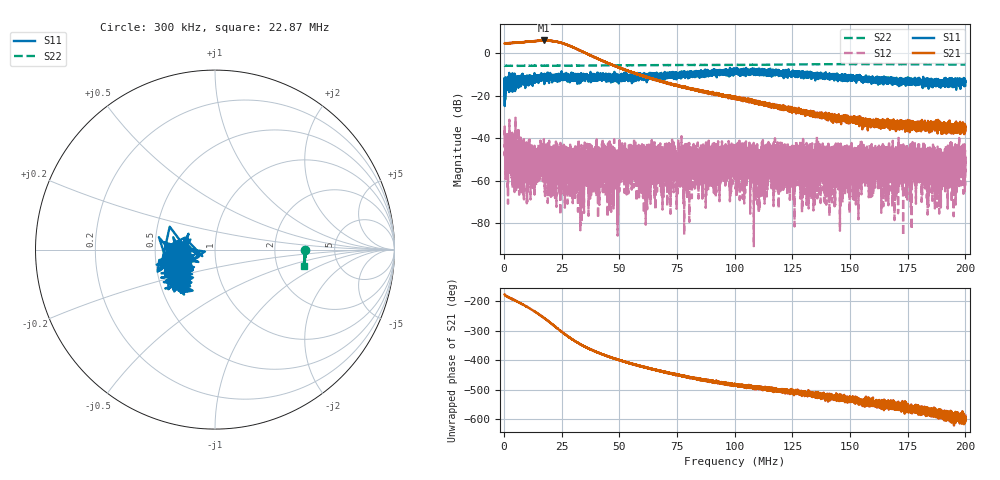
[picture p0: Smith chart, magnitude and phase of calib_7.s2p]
# Hz S DB R 50
! CMT, M5065, 19127446, 24.2.4/2
! Date: 11/8/2024 3:36:26 PM
! Data: Format (Calibration Info)
! Freq	S11:dB/Ang(F2)	S21:dB/Ang(F2)	S12:dB/Ang(F2)	S22:dB/Ang(F2)
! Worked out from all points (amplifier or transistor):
!   9000 points, 300 kHz to 200 MHz, reference 50 ohm
!   highest |S21| = 5.9 dB at 17.34 MHz (marker M1)
!   |S21| within 3 dB of that: start of sweep to 29.43 MHz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
!   unconditionally stable (mu >= 1): start of sweep to end of sweep
!   at 33.59 MHz: K = 45.09, MAG = 2.5 dB, |S12| = -43.2 dB
!   at 100.2 MHz: K = 574.27, MAG = -18.6 dB, |S12| = -44.8 dB
!   at 200 MHz: K = 6798.37, MAG = -32.5 dB, |S12| = -51.8 dB
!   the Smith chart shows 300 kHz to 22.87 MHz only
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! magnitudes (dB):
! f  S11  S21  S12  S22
! 300 kHz  -12.0  4.5  -40.5  -6.0
! 1.343 MHz  -17.2  4.7  -56.2  -6.0
! 7.912 MHz  -13.8  5.2  -53.6  -6.0
! 17.34 MHz  -10.3  5.9  -46.4  -6.0
! 27.97 MHz  -10.7  3.6  -48.5  -5.9
! 33.59 MHz  -11.4  0.9  -43.2  -5.9
! 40.44 MHz  -10.1  -2.5  -57.4  -5.8
! 42.6 MHz  -11.9  -3.6  -48.4  -5.8
! 45.59 MHz  -11.2  -5.0  -59.6  -5.8
! 52.03 MHz  -10.9  -7.6  -50.5  -5.8
! 66.87 MHz  -11.4  -12.9  -50.7  -5.6
! 100.2 MHz  -8.2  -20.7  -44.8  -5.6
! 133.4 MHz  -9.2  -28.1  -51.3  -5.3
! 151.7 MHz  -11.8  -31.0  -47.4  -5.2
! 155.5 MHz  -12.9  -32.4  -51.5  -5.2
! 158.6 MHz  -11.5  -33.4  -51.9  -5.2
! 160.6 MHz  -13.0  -31.8  -45.0  -5.2
! 165.4 MHz  -11.4  -32.4  -43.4  -5.2
! 166.7 MHz  -13.1  -31.8  -48.0  -5.2
! 169.3 MHz  -12.9  -34.7  -78.6  -5.2
! 171.9 MHz  -12.3  -31.6  -50.2  -5.2
! 200 MHz  -15.2  -34.2  -51.8  -5.3
